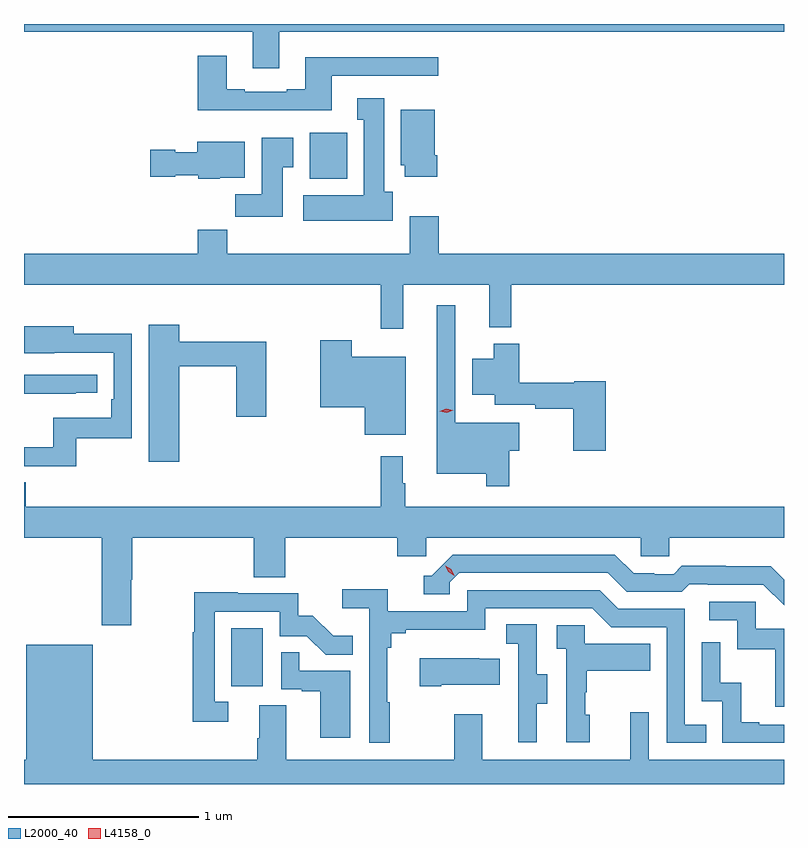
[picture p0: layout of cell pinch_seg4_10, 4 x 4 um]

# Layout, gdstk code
import gdstk
lib = gdstk.Library(unit=1e-6, precision=1e-09)
def R(c, l, rs):  # rectangles x0, y0, x1, y1
    for r in rs: c.add(gdstk.rectangle(r[:2], r[2:], *l))
def P(c, l, *ps):  # polygons
    for p in ps: c.add(gdstk.Polygon(p, *l))
L2000_40 = (2000, 40)
L4158_0 = (4158, 0)

pinch_seg4_10 = lib.new_cell('pinch_seg4_10')
R(pinch_seg4_10, L2000_40, [(1113.704,822.678,1113.868,822.985), (1114.115,825.35,1114.312,825.592)])
P(pinch_seg4_10, L2000_40, [(1113.955,826.124),(1116.612,826.124),(1116.612,826.164),(1112.612,826.164),(1112.612,826.124),(1113.815,826.124),(1113.815,825.93),(1113.955,825.93)],
  [(1114.231,825.891),(1114.792,825.891),(1114.792,825.988),(1114.091,825.988),(1114.091,825.82),(1113.995,825.82),(1113.995,825.807),(1113.775,825.807),(1113.775,825.82),(1113.679,825.82),(1113.679,825.997),(1113.527,825.997),(1113.527,825.71),(1114.231,825.71)],
  [(1114.552,825.282),(1114.507,825.282),(1114.507,825.772),(1114.367,825.772),(1114.367,825.659),(1114.4,825.659),(1114.4,825.262),(1114.083,825.262),(1114.083,825.128),(1114.552,825.128)],
  [(1114.787,825.472),(1114.774,825.472),(1114.774,825.712),(1114.595,825.712),(1114.595,825.42),(1114.616,825.42),(1114.616,825.36),(1114.787,825.36)],
  [(1113.973,825.409),(1114.03,825.409),(1114.03,825.565),(1113.863,825.565),(1113.863,825.268),(1113.724,825.268),(1113.724,825.15),(1113.973,825.15)],
  [(1113.642,825.356),(1113.775,825.356),(1113.775,825.544),(1113.524,825.544),(1113.524,825.49),(1113.408,825.49),(1113.408,825.503),(1113.276,825.503),(1113.276,825.361),(1113.408,825.361),(1113.408,825.368),(1113.528,825.368),(1113.528,825.35),(1113.642,825.35)],
  [(1114.607,824.792),(1115.06,824.792),(1115.06,824.567),(1115.177,824.567),(1115.177,824.792),(1116.612,824.792),(1116.612,824.956),(1114.796,824.956),(1114.796,825.151),(1114.643,825.151),(1114.643,824.956),(1113.683,824.956),(1113.683,825.08),(1113.527,825.08),(1113.527,824.956),(1112.612,824.956),(1112.612,824.792),(1114.489,824.792),(1114.489,824.559),(1114.607,824.559)],
  [(1115.167,823.918),(1115.218,823.918),(1115.218,824.065),(1114.881,824.065),(1114.881,824.683),(1114.784,824.683),(1114.784,823.796),(1115.046,823.796),(1115.046,823.731),(1115.167,823.731)],
  [(1113.43,824.362),(1113.728,824.362),(1113.728,824.097),(1113.886,824.097),(1113.886,824.491),(1113.43,824.491),(1113.43,824.581),(1113.269,824.581),(1113.269,823.86),(1113.43,823.86)],
  [(1112.887,823.983),(1113.18,823.983),(1113.18,824.534),(1112.875,824.534),(1112.875,824.572),(1112.612,824.572),(1112.612,824.432),(1112.771,824.432),(1112.771,824.433),(1113.084,824.433),(1113.084,824.188),(1113.071,824.188),(1113.071,824.092),(1112.766,824.092),(1112.766,823.937),(1112.612,823.937),(1112.612,823.836),(1112.887,823.836)],
  [(1114.621,824.413),(1114.338,824.413),(1114.338,824.5),(1114.172,824.5),(1114.172,824.147),(1114.406,824.147),(1114.406,824.003),(1114.621,824.003)],
  [(1115.675,824.284),(1115.508,824.284),(1115.508,824.276),(1115.219,824.276),(1115.219,824.482),(1115.084,824.482),(1115.084,824.401),(1114.97,824.401),(1114.97,824.213),(1115.09,824.213),(1115.09,824.16),(1115.302,824.16),(1115.302,824.14),(1115.504,824.14),(1115.504,823.917),(1115.675,823.917)],
  [(1112.885,824.223),(1112.998,824.223),(1112.998,824.319),(1112.612,824.319),(1112.612,824.218),(1112.885,824.218)],
  [(1113.177,823.238),(1113.182,823.238),(1113.182,823.46),(1113.821,823.46),(1113.821,823.252),(1113.986,823.252),(1113.986,823.46),(1114.577,823.46),(1114.577,823.362),(1114.728,823.362),(1114.728,823.46),(1115.859,823.46),(1115.859,823.362),(1116.009,823.362),(1116.009,823.46),(1116.612,823.46),(1116.612,823.624),(1114.618,823.624),(1114.618,823.748),(1114.606,823.748),(1114.606,823.888),(1114.489,823.888),(1114.489,823.624),(1112.621,823.624),(1112.621,823.751),(1112.612,823.751),(1112.612,823.46),(1113.022,823.46),(1113.022,822.999),(1113.177,822.999)],
  [(1116.612,823.239),(1116.542,823.309),(1116.306,823.309),(1116.306,823.312),(1116.073,823.312),(1116.031,823.269),(1115.928,823.269),(1115.928,823.272),(1115.821,823.272),(1115.722,823.371),(1114.869,823.371),(1114.758,823.26),(1114.715,823.26),(1114.715,823.164),(1114.854,823.164),(1114.854,823.227),(1114.902,823.275),(1115.685,823.275),(1115.784,823.176),(1116.073,823.176),(1116.112,823.215),(1116.211,823.215),(1116.211,823.212),(1116.504,823.212),(1116.612,823.104)],
  [(1114.537,822.593),(1114.525,822.593),(1114.525,822.881),(1114.544,822.881),(1114.544,822.958),(1114.621,822.958),(1114.621,822.977),(1115.04,822.977),(1115.04,823.089),(1115.604,823.089),(1115.703,822.99),(1115.994,822.99),(1115.994,822.381),(1116.203,822.381),(1116.203,822.477),(1116.09,822.477),(1116.09,823.086),(1115.74,823.086),(1115.641,823.185),(1114.944,823.185),(1114.944,823.074),(1114.526,823.074),(1114.526,823.19),(1114.287,823.19),(1114.287,823.088),(1114.428,823.088),(1114.428,822.381),(1114.537,822.381)],
  [(1113.688,822.597),(1113.615,822.597),(1113.615,823.071),(1113.957,823.071),(1113.957,822.942),(1114.101,822.942),(1114.199,822.844),(1114.343,822.844),(1114.343,822.943),(1114.239,822.943),(1114.132,823.05),(1114.056,823.05),(1114.056,823.167),(1113.737,823.167),(1113.737,823.172),(1113.507,823.172),(1113.507,822.964),(1113.499,822.964),(1113.499,822.492),(1113.688,822.492)],
  [(1116.612,822.981),(1116.462,822.981),(1116.462,823.122),(1116.219,823.122),(1116.219,823.026),(1116.366,823.026),(1116.366,822.873),(1116.565,822.873),(1116.565,822.57),(1116.612,822.57)],
  [(1115.311,822.586),(1115.365,822.586),(1115.365,822.741),(1115.31,822.741),(1115.31,823.004),(1115.151,823.004),(1115.151,822.901),(1115.214,822.901),(1115.214,822.597),(1115.213,822.597),(1115.213,822.384),(1115.311,822.384)],
  [(1115.59,822.528),(1115.565,822.528),(1115.565,822.647),(1115.575,822.647),(1115.575,822.761),(1115.909,822.761),(1115.909,822.901),(1115.562,822.901),(1115.562,822.999),(1115.415,822.999),(1115.415,822.875),(1115.466,822.875),(1115.466,822.384),(1115.59,822.384)],
  [(1116.612,822.477),(1116.481,822.477),(1116.481,822.49),(1116.386,822.49),(1116.386,822.698),(1116.276,822.698),(1116.276,822.91),(1116.18,822.91),(1116.18,822.6),(1116.288,822.6),(1116.288,822.381),(1116.612,822.381)],
  [(1116.612,822.292),(1115.901,822.292),(1115.901,822.541),(1115.804,822.541),(1115.804,822.292),(1115.023,822.292),(1115.023,822.532),(1114.876,822.532),(1114.876,822.292),(1113.991,822.292),(1113.991,822.578),(1113.851,822.578),(1113.851,822.404),(1113.839,822.404),(1113.839,822.292),(1112.974,822.292),(1112.974,822.898),(1112.624,822.898),(1112.624,822.292),(1112.612,822.292),(1112.612,822.164),(1116.612,822.164)],
  [(1114.33,822.759),(1114.061,822.759),(1114.061,822.857),(1113.966,822.857),(1113.966,822.663),(1114.073,822.663),(1114.073,822.651),(1114.172,822.651),(1114.172,822.408),(1114.33,822.408)],
  [(1114.807,822.686),(1115.117,822.686),(1115.117,822.823),(1115.009,822.823),(1115.009,822.826),(1114.695,822.826),(1114.695,822.679),(1114.807,822.679)])
P(pinch_seg4_10, L4158_0, [(1114.836,824.118),(1114.8,824.125),(1114.799,824.125),(1114.8,824.126),(1114.834,824.138),(1114.87,824.13),(1114.871,824.13),(1114.87,824.13)],
  [(1114.877,823.26),(1114.846,823.28),(1114.83,823.313),(1114.83,823.313),(1114.83,823.313),(1114.861,823.293),(1114.877,823.26),(1114.877,823.26)])

lib.write_gds('pinch_seg4_10.gds')
